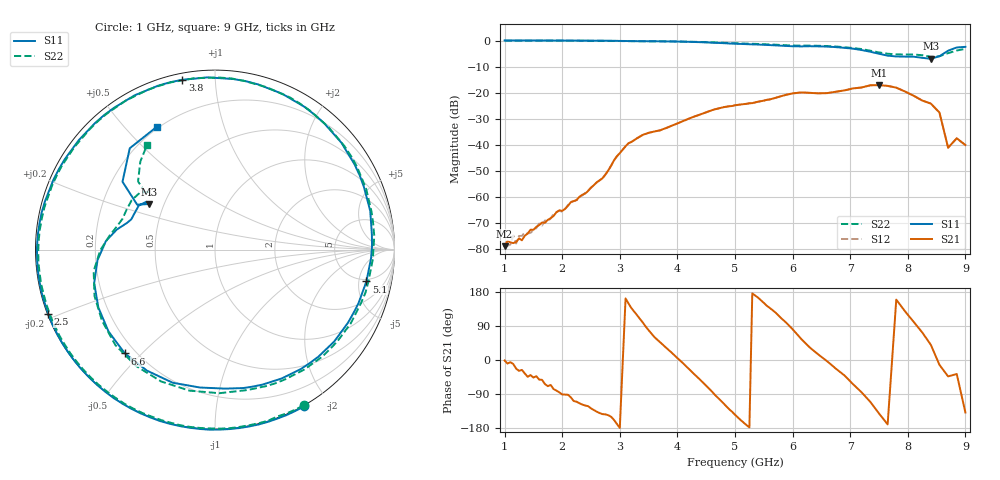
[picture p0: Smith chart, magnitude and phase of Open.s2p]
! Created on 9/7/2020 4:02:19 PM
! Agilent Nonlinear Vector Network Analyzer (NVNA) Version 02.04.05
! S-Parameter data
! freq S11 S21 S12 S22
# Hz S RI R 50
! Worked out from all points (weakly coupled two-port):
!   101 points, 1 GHz to 9 GHz, reference 50 ohm
!   highest |S21| = -17.10 dB at 7.5 GHz (marker M1); lowest = -78.9 dB at 1 GHz (marker M2)
!   lowest |S11| = -7.0 dB at 8.4 GHz (marker M3), VSWR 2.62, Z = 20.6 + j13.1 ohm
!   |S11| at or under -10 dB: nowhere
!   |S22| runs from -6.2 to 0.0 dB; largest |S21 - S12| = 0.00071
!   S11 on the Smith chart (normalised r, x): 1 GHz: -0.01, -1.71; 2.5 GHz: 0.00, -0.19; 3.8 GHz: 0.03, +0.83; 5.1 GHz: 4.58, -6.34; 6.6 GHz: 0.16, -0.45; 9 GHz: 0.19, +0.61
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1e9  0.4947 -0.8741  0.000114 -2.58e-06  0.000117 7.62e-06  0.4945 -0.8679
1.7e9  -0.2523 -0.9703  0.000143 -0.000287  0.000175 -0.000308  -0.246 -0.9649
2.35e9  -0.8492 -0.5237  -0.000512 -0.000979  -0.000495 -0.00095  -0.8366 -0.5298
2.5e9  -0.9293 -0.359  -0.000926 -0.0012  -0.000886 -0.00121  -0.9168 -0.3693
3.1e9  -0.8996 0.3907  -0.00895 0.00283  -0.00897 0.00279  -0.9081 0.3561
3.7e9  -0.3183 0.9127  0.013 0.0139  0.013 0.0139  -0.3762 0.8894
3.8e9  -0.1825 0.9462  0.0176 0.0113  0.0175 0.0114  -0.2485 0.9311
4.35e9  0.5552 0.7513  0.0256 -0.0262  0.0256 -0.0262  0.4735 0.8139
4.65e9  0.8062 0.4134  -0.00151 -0.048  -0.00147 -0.0481  0.7582 0.5208
5e9  0.8692 -0.0499  -0.0467 -0.0334  -0.0466 -0.0333  0.8873 0.0771
5.1e9  0.8435 -0.1777  -0.0554 -0.0216  -0.0553 -0.0214  0.8794 -0.052
5.7e9  0.3713 -0.7182  -0.0464 0.0646  -0.0464 0.0644  0.496 -0.6691
6.45e9  -0.379 -0.6745  0.0943 0.0238  0.0945 0.0238  -0.3 -0.7348
6.6e9  -0.5021 -0.5787  0.0982 -0.00579  0.098 -0.00579  -0.4406 -0.6477
7.05e9  -0.673 -0.1864  0.0532 -0.1086  0.0533 -0.1082  -0.6712 -0.2592
7.5e9  -0.5473 0.1115  -0.1085 -0.0878  -0.1089 -0.088  -0.5866 0.0788
7.8e9  -0.4662 0.1687  -0.1169 0.0443  -0.117 0.0443  -0.5144 0.1728
8.4e9  -0.3685 0.2538  0.0473 0.0398  0.0475 0.0398  -0.3679 0.3216
8.55e9  -0.4335 0.2504  0.0406 -0.00928  0.0405 -0.00896  -0.3878 0.3164
8.7e9  -0.5154 0.378  0.00643 -0.00605  0.00632 -0.00616  -0.4287 0.3802
8.85e9  -0.4749 0.5646  0.0107 -0.00805  0.0106 -0.00798  -0.4159 0.491
9e9  -0.3258 0.6829  -0.00745 -0.00658  -0.00738 -0.00649  -0.3788 0.5828
